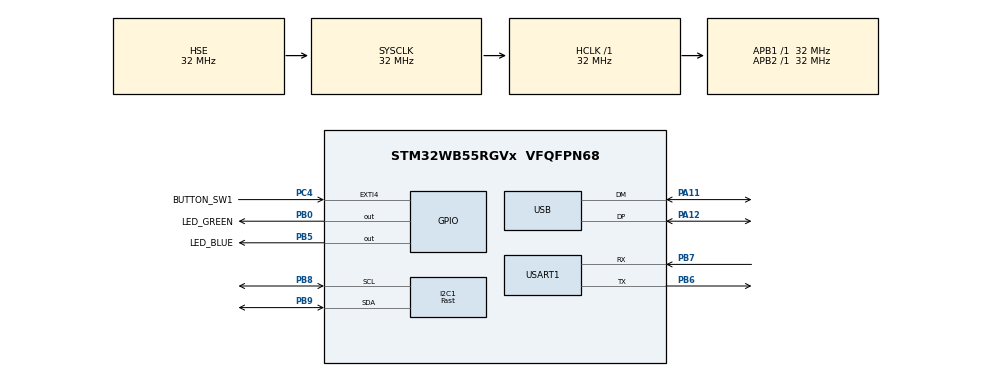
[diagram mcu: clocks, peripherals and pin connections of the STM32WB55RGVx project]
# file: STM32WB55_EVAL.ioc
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Dma.I2C1_RX.0.Direction=DMA_PERIPH_TO_MEMORY
Dma.I2C1_RX.0.EventEnable=DISABLE
Dma.I2C1_RX.0.Instance=DMA1_Channel1
Dma.I2C1_RX.0.MemDataAlignment=DMA_MDATAALIGN_BYTE
Dma.I2C1_RX.0.MemInc=DMA_MINC_ENABLE
Dma.I2C1_RX.0.Mode=DMA_NORMAL
Dma.I2C1_RX.0.PeriphDataAlignment=DMA_PDATAALIGN_BYTE
Dma.I2C1_RX.0.PeriphInc=DMA_PINC_DISABLE
Dma.I2C1_RX.0.Polarity=HAL_DMAMUX_REQ_GEN_RISING
Dma.I2C1_RX.0.Priority=DMA_PRIORITY_LOW
Dma.I2C1_RX.0.RequestNumber=1
Dma.I2C1_RX.0.SignalID=NONE
Dma.I2C1_RX.0.SyncEnable=DISABLE
Dma.I2C1_RX.0.SyncPolarity=HAL_DMAMUX_SYNC_NO_EVENT
Dma.I2C1_RX.0.SyncRequestNumber=1
Dma.I2C1_RX.0.SyncSignalID=NONE
Dma.I2C1_TX.1.Direction=DMA_MEMORY_TO_PERIPH
Dma.I2C1_TX.1.EventEnable=DISABLE
Dma.I2C1_TX.1.Instance=DMA1_Channel2
Dma.I2C1_TX.1.MemDataAlignment=DMA_MDATAALIGN_BYTE
Dma.I2C1_TX.1.MemInc=DMA_MINC_ENABLE
Dma.I2C1_TX.1.Mode=DMA_NORMAL
Dma.I2C1_TX.1.PeriphDataAlignment=DMA_PDATAALIGN_BYTE
Dma.I2C1_TX.1.PeriphInc=DMA_PINC_DISABLE
Dma.I2C1_TX.1.Polarity=HAL_DMAMUX_REQ_GEN_RISING
Dma.I2C1_TX.1.Priority=DMA_PRIORITY_LOW
Dma.I2C1_TX.1.RequestNumber=1
Dma.I2C1_TX.1.SignalID=NONE
Dma.I2C1_TX.1.SyncEnable=DISABLE
Dma.I2C1_TX.1.SyncPolarity=HAL_DMAMUX_SYNC_NO_EVENT
Dma.I2C1_TX.1.SyncRequestNumber=1
Dma.I2C1_TX.1.SyncSignalID=NONE
Dma.Request0=I2C1_RX
Dma.Request1=I2C1_TX
FREERTOS.BinarySemaphores01=ImuI2Csem,Dynamic,NULL
FREERTOS.Tasks01=imuTask,24,256,StartImuTask,Default,NULL,Dynamic,NULL,NULL
FREERTOS.configMINIMAL_STACK_SIZE=256
FREERTOS.configTOTAL_HEAP_SIZE=6000
I2C1.I2C_Speed_Mode=I2C_Fast
I2C1.Speed=100
I2C1.Timing=0x003038FF
Mcu.Family=STM32WB
Mcu.Name=STM32WB55RGVx
Mcu.Package=VFQFPN68
NVIC.DMA1_Channel1_IRQn=true\:5\:0\:false\:false\:true\:true\:false\:true
NVIC.DMA1_Channel2_IRQn=true\:5\:0\:false\:false\:true\:true\:false\:true
NVIC.EXTI4_IRQn=true\:5\:0\:false\:false\:true\:true\:true\:true
NVIC.I2C1_ER_IRQn=true\:5\:0\:false\:false\:true\:true\:true\:true
NVIC.I2C1_EV_IRQn=true\:5\:0\:false\:false\:true\:true\:true\:true
NVIC.PriorityGroup=NVIC_PRIORITYGROUP_4
NVIC.TIM1_TRG_COM_TIM17_IRQn=true\:0\:0\:false\:false\:true\:false\:false\:true
NVIC.TimeBase=TIM1_TRG_COM_TIM17_IRQn
NVIC.TimeBaseIP=TIM17
NVIC.USB_HP_IRQn=true\:5\:0\:false\:false\:true\:true\:true\:true
NVIC.USB_LP_IRQn=true\:5\:0\:false\:false\:true\:true\:true\:true
OSC_IN.Mode=HSE-External-Oscillator
OSC_IN.Signal=RCC_OSC_IN
OSC_OUT.Mode=HSE-External-Oscillator
OSC_OUT.Signal=RCC_OSC_OUT
PA11.Mode=Device
PA11.Signal=USB_DM
PA12.Mode=Device
PA12.Signal=USB_DP
PA13.Mode=Serial_Wire
PA13.Signal=SYS_JTMS-SWDIO
PA14.Mode=Serial_Wire
PA14.Signal=SYS_JTCK-SWCLK
PB0.GPIO_Label=LED_GREEN
PB0.Signal=GPIO_Output
PB5.GPIO_Label=LED_BLUE
PB5.Signal=GPIO_Output
PB6.Mode=Asynchronous
PB6.Signal=USART1_TX
PB7.Mode=Asynchronous
PB7.Signal=USART1_RX
PB8.Mode=I2C
PB8.Signal=I2C1_SCL
PB9.Mode=I2C
PB9.Signal=I2C1_SDA
PC14-OSC32_IN.Mode=LSE-External-Oscillator
PC14-OSC32_IN.Signal=RCC_OSC32_IN
PC15-OSC32_OUT.Mode=LSE-External-Oscillator
PC15-OSC32_OUT.Signal=RCC_OSC32_OUT
PC4.GPIO_Label=BUTTON_SW1
PC4.GPIO_ModeDefaultEXTI=GPIO_MODE_IT_FALLING
PC4.GPIO_PuPd=GPIO_PULLUP
PC4.Signal=GPXTI4
ProjectManager.HeapSize=0x200
ProjectManager.StackSize=0x400
ProjectManager.TargetToolchain=STM32CubeIDE
RCC.ADCFreq_Value=48000000
RCC.AHBFreq_Value=32000000
RCC.APB1Freq_Value=32000000
RCC.APB1TimFreq_Value=32000000
RCC.APB2Freq_Value=32000000
RCC.APB2TimFreq_Value=32000000
RCC.APB3Freq_Value=16000000
RCC.CortexFreq_Value=32000000
RCC.HCLKFreq_Value=32000000
RCC.HSE_VALUE=32000000
RCC.HSI48_VALUE=48000000
RCC.HSI_VALUE=16000000
RCC.PLLSAI1N=24
RCC.RFWKPClockSelection=RCC_RFWKPCLKSOURCE_LSE
RCC.RTCClockSelection=RCC_RTCCLKSOURCE_LSE
RCC.SYSCLKFreq_VALUE=32000000
RCC.SYSCLKSource=RCC_SYSCLKSOURCE_HSE
RCC.USBFreq_Value=48000000
RCC.VCOOutputFreq_Value=32000000
RF1.Mode=RF1_Activate
RF1.Signal=RF_RF1
STM32_WPAN.AD_TYPE_MANUFACTURER_DATA_2=44
STM32_WPAN.AD_TYPE_MANUFACTURER_DATA_NBR=10
STM32_WPAN.AD_TYPE_MANUFACTURER_SPECIFIC_DATA_COMPANY_IDENTIFIER=01,83
STM32_WPAN.BT_SIG_HEART_RATE_SENSOR=Enabled
STM32_WPAN.CFG_GAP_DEVICE_NAME=WBMEMS
STM32_WPAN.INCLUDE_AD_TYPE_MANUFACTURER_SPECIFIC_DATA=1
STM32_WPAN.LOCAL_NAME=P2PBATA
STM32_WPAN.LOCAL_NAME_FORMATTED=,'P','2','P','B','A','T','A'
STM32_WPAN.NUMBER_OF_SERVICES=1
STM32_WPAN.SERVICE1_CHAR1_LENGTH_CHARACTERISTIC=CHAR_VALUE_LEN_VARIABLE
STM32_WPAN.SERVICE1_CHAR1_LONG_NAME=Environmental
STM32_WPAN.SERVICE1_CHAR1_PROP_BROADCAST=\ 
STM32_WPAN.SERVICE1_CHAR1_PROP_NOTIFY=CHAR_PROP_NOTIFY
STM32_WPAN.SERVICE1_CHAR1_PROP_READ=CHAR_PROP_READ
STM32_WPAN.SERVICE1_CHAR1_SHORT_NAME=Env
STM32_WPAN.SERVICE1_CHAR1_UUID=00 00
STM32_WPAN.SERVICE1_CHAR1_UUID_TYPE=0x02
STM32_WPAN.SERVICE1_CHAR1_VALUE_LENGTH=4
STM32_WPAN.SERVICE1_CHAR2_LONG_NAME=Motion
STM32_WPAN.SERVICE1_CHAR2_PROP_BROADCAST=\ 
STM32_WPAN.SERVICE1_CHAR2_PROP_NOTIFY=CHAR_PROP_NOTIFY
STM32_WPAN.SERVICE1_CHAR2_SHORT_NAME=Motion
STM32_WPAN.SERVICE1_CHAR2_VALUE_LENGTH=20
STM32_WPAN.SERVICE1_LONG_NAME=Hardware_Service_STM
STM32_WPAN.SERVICE1_NUMBER_OF_CHARACTERISTICS=2
STM32_WPAN.SERVICE1_SHORT_NAME=HW
STM32_WPAN.SERVICE1_UUID=00 00
STM32_WPAN.SERVICE1_UUID_TYPE=0x02
USART1.VirtualMode-Asynchronous=VM_ASYNC
USB_DEVICE.CLASS_NAME_FS=CDC
USB_DEVICE.VirtualMode=Cdc
USB_DEVICE.VirtualModeFS=Cdc_FS
VP_FREERTOS_VS_CMSIS_V2.Mode=CMSIS_V2
VP_HSEM_VS_HSEM.Mode=HSEM_Activate
VP_RTC_VS_RTC_Activate.Mode=RTC_Enabled
VP_STM32_WPAN_VS_BLE_HOST.Mode=STM32_WPAN_Enabled
VP_SYS_VS_tim17.Mode=TIM17
VP_TINY_LPM_VS_TINY_LPM.Mode=TINY_LPM_Enabled
VP_USB_DEVICE_VS_USB_DEVICE_CDC_FS.Mode=CDC_FS
board=custom

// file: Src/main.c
/* USER CODE BEGIN Header */
/**
  ******************************************************************************
  * @file           : main.c
  * @brief          : Main program body
  ******************************************************************************
  * @attention
  *
  * <h2><center>&copy; Copyright (c) 2020 STMicroelectronics.
  * All rights reserved.</center></h2>
  *
  * This software component is licensed by ST under Ultimate Liberty license
  * SLA0044, the "License"; You may not use this file except in compliance with
  * the License. You may obtain a copy of the License at:
  *                             www.st.com/SLA0044
  *
  ******************************************************************************
  */
/* USER CODE END Header */

#include "main.h"
#include "cmsis_os.h"
#include "dma.h"
#include "i2c.h"
#include "rf.h"
#include "rtc.h"
#include "app_entry.h"
#include "app_common.h"
#include "usart.h"
#include "usb_device.h"
#include "gpio.h"

/* USER CODE BEGIN Includes */
#include <ism330dlc_reg.h>
#include "SEGGER_RTT.h"
#include "diagnostics_utils.h"
/* USER CODE END Includes */

void SystemClock_Config(void);
void MX_FREERTOS_Init(void);

/* USER CODE BEGIN 0 */
typedef union{
  int16_t i16bit[3];
  uint8_t u8bit[6];
} axis3bit16_t;

typedef union{
  int16_t i16bit;
  uint8_t u8bit[2];
} axis1bit16_t;

/* Private macro -------------------------------------------------------------*/

/* Private variables ---------------------------------------------------------*/
static axis3bit16_t data_raw_acceleration;
static axis3bit16_t data_raw_angular_rate;
static axis1bit16_t data_raw_temperature;
static float acceleration_mg[3];
static float angular_rate_mdps[3];
static float temperature_degC;

static void platform_delay(uint32_t ms);

int __io_putchar(int ch)
{
	ITM_SendChar(ch);
}
/* USER CODE END 0 */

int main(void)
{

  /* MCU Configuration--------------------------------------------------------*/

  /* Reset of all peripherals, Initializes the Flash interface and the Systick. */
  HAL_Init();

  /* USER CODE BEGIN Init */
  vTraceEnable( TRC_INIT );
  /* USER CODE END Init */

  /* Configure the system clock */
  SystemClock_Config();

  /* USER CODE BEGIN SysInit */
  //SEGGER_RTT_ConfigUpBuffer(0, NULL, NULL, 0, SEGGER_RTT_MODE_BLOCK_IF_FIFO_FULL);
  //dwt_cycle_counter_init();
  /* USER CODE END SysInit */

  /* Initialize all configured peripherals */
  MX_GPIO_Init();
  MX_DMA_Init();
  MX_RF_Init();
  MX_RTC_Init();
  MX_USART1_UART_Init();
  MX_I2C1_Init();
  MX_USB_Device_Init();
  /* USER CODE BEGIN 2 */
  //UTIL_SEQ_Init();

  /* USER CODE END 2 */

  /* Init scheduler */
  osKernelInitialize();  /* Call init function for freertos objects (in freertos.c) */
  MX_FREERTOS_Init();
  APPE_Init();
  /* Start scheduler */
  osKernelStart();

  /* We should never get here as control is now taken by the scheduler */
  /* Infinite loop */
  /* USER CODE BEGIN WHILE */
  while (1)
  {
    //ism330dlc_reg_t reg;
    //ism330dlc_status_reg_get(&dev_ctx, &reg.status_reg);

    //if (reg.status_reg.xlda)
    //{
    //  /* Read magnetic field data */
    //  memset(data_raw_acceleration.u8bit, 0x00, 3*sizeof(int16_t));
    //  ism330dlc_acceleration_raw_get(&dev_ctx, data_raw_acceleration.u8bit);
    //  acceleration_mg[0] = ism330dlc_from_fs2g_to_mg( data_raw_acceleration.i16bit[0]);
    //  acceleration_mg[1] = ism330dlc_from_fs2g_to_mg( data_raw_acceleration.i16bit[1]);
    //  acceleration_mg[2] = ism330dlc_from_fs2g_to_mg( data_raw_acceleration.i16bit[2]);

    //  //sprintf((char*)tx_buffer, "Acceleration [mg]:%4.2f\t%4.2f\t%4.2f\r\n",
    //   //       acceleration_mg[0], acceleration_mg[1], acceleration_mg[2]);
    //  //tx_com( tx_buffer, strlen( (char const*)tx_buffer ) );
    //}

    //if (reg.status_reg.gda)
    {
      /* Read magnetic field data */
      //memset(data_raw_angular_rate.u8bit, 0x00, 3*sizeof(int16_t));
      //ism330dlc_angular_rate_raw_get(&dev_ctx, data_raw_angular_rate.u8bit);
      //angular_rate_mdps[0] = ism330dlc_from_fs2000dps_to_mdps(data_raw_angular_rate.i16bit[0]);
      //angular_rate_mdps[1] = ism330dlc_from_fs2000dps_to_mdps(data_raw_angular_rate.i16bit[1]);
      //angular_rate_mdps[2] = ism330dlc_from_fs2000dps_to_mdps(data_raw_angular_rate.i16bit[2]);

     // sprintf((char*)tx_buffer, "Angular rate [mdps]:%4.2f\t%4.2f\t%4.2f\r\n",
     //         angular_rate_mdps[0], angular_rate_mdps[1], angular_rate_mdps[2]);
     // tx_com( tx_buffer, strlen( (char const*)tx_buffer ) );
    }

	  //UTIL_SEQ_Run(~0);
    /* USER CODE END WHILE */

  }
}

void SystemClock_Config(void)
{
  RCC_OscInitTypeDef RCC_OscInitStruct = {0};
  RCC_ClkInitTypeDef RCC_ClkInitStruct = {0};
  RCC_PeriphCLKInitTypeDef PeriphClkInitStruct = {0};

  /** Macro to configure the PLL multiplication factor
  */
  __HAL_RCC_PLL_PLLM_CONFIG(RCC_PLLM_DIV1);
  /** Macro to configure the PLL clock source
  */
  __HAL_RCC_PLL_PLLSOURCE_CONFIG(RCC_PLLSOURCE_MSI);
  /** Configure LSE Drive Capability
  */
  HAL_PWR_EnableBkUpAccess();
  __HAL_RCC_LSEDRIVE_CONFIG(RCC_LSEDRIVE_LOW);
  /** Configure the main internal regulator output voltage
  */
  __HAL_PWR_VOLTAGESCALING_CONFIG(PWR_REGULATOR_VOLTAGE_SCALE1);
  /** Initializes the CPU, AHB and APB busses clocks
  */
  RCC_OscInitStruct.OscillatorType = RCC_OSCILLATORTYPE_HSI|RCC_OSCILLATORTYPE_HSE
                              |RCC_OSCILLATORTYPE_LSE|RCC_OSCILLATORTYPE_MSI;
  RCC_OscInitStruct.HSEState = RCC_HSE_ON;
  RCC_OscInitStruct.LSEState = RCC_LSE_ON;
  RCC_OscInitStruct.HSIState = RCC_HSI_ON;
  RCC_OscInitStruct.MSIState = RCC_MSI_ON;
  RCC_OscInitStruct.HSICalibrationValue = RCC_HSICALIBRATION_DEFAULT;
  RCC_OscInitStruct.MSICalibrationValue = RCC_MSICALIBRATION_DEFAULT;
  RCC_OscInitStruct.MSIClockRange = RCC_MSIRANGE_6;
  RCC_OscInitStruct.PLL.PLLState = RCC_PLL_NONE;
  if (HAL_RCC_OscConfig(&RCC_OscInitStruct) != HAL_OK)
  {
    Error_Handler();
  }
  /** Configure the SYSCLKSource, HCLK, PCLK1 and PCLK2 clocks dividers
  */
  RCC_ClkInitStruct.ClockType = RCC_CLOCKTYPE_HCLK4|RCC_CLOCKTYPE_HCLK2
                              |RCC_CLOCKTYPE_HCLK|RCC_CLOCKTYPE_SYSCLK
                              |RCC_CLOCKTYPE_PCLK1|RCC_CLOCKTYPE_PCLK2;
  RCC_ClkInitStruct.SYSCLKSource = RCC_SYSCLKSOURCE_HSE;
  RCC_ClkInitStruct.AHBCLKDivider = RCC_SYSCLK_DIV1;
  RCC_ClkInitStruct.APB1CLKDivider = RCC_HCLK_DIV1;
  RCC_ClkInitStruct.APB2CLKDivider = RCC_HCLK_DIV1;
  RCC_ClkInitStruct.AHBCLK2Divider = RCC_SYSCLK_DIV1;
  RCC_ClkInitStruct.AHBCLK4Divider = RCC_SYSCLK_DIV1;

  if (HAL_RCC_ClockConfig(&RCC_ClkInitStruct, FLASH_LATENCY_1) != HAL_OK)
  {
    Error_Handler();
  }
  /** Initializes the peripherals clocks
  */
  PeriphClkInitStruct.PeriphClockSelection = RCC_PERIPHCLK_SMPS|RCC_PERIPHCLK_RFWAKEUP
                              |RCC_PERIPHCLK_RTC|RCC_PERIPHCLK_USART1
                              |RCC_PERIPHCLK_I2C1|RCC_PERIPHCLK_USB;
  PeriphClkInitStruct.PLLSAI1.PLLN = 24;
  PeriphClkInitStruct.PLLSAI1.PLLP = RCC_PLLP_DIV2;
  PeriphClkInitStruct.PLLSAI1.PLLQ = RCC_PLLQ_DIV2;
  PeriphClkInitStruct.PLLSAI1.PLLR = RCC_PLLR_DIV2;
  PeriphClkInitStruct.PLLSAI1.PLLSAI1ClockOut = RCC_PLLSAI1_USBCLK;
  PeriphClkInitStruct.Usart1ClockSelection = RCC_USART1CLKSOURCE_PCLK2;
  PeriphClkInitStruct.I2c1ClockSelection = RCC_I2C1CLKSOURCE_PCLK1;
  PeriphClkInitStruct.UsbClockSelection = RCC_USBCLKSOURCE_PLLSAI1;
  PeriphClkInitStruct.RTCClockSelection = RCC_RTCCLKSOURCE_LSE;
  PeriphClkInitStruct.RFWakeUpClockSelection = RCC_RFWKPCLKSOURCE_LSE;
  PeriphClkInitStruct.SmpsClockSelection = RCC_SMPSCLKSOURCE_HSE;
  PeriphClkInitStruct.SmpsDivSelection = RCC_SMPSCLKDIV_RANGE0;
  if (HAL_RCCEx_PeriphCLKConfig(&PeriphClkInitStruct) != HAL_OK)
  {
    Error_Handler();
  }
  /** Enable MSI Auto calibration
  */
  HAL_RCCEx_EnableMSIPLLMode();
}

/* USER CODE BEGIN 4 */
/*
 * @brief  Write generic device register (platform dependent)
 *
 * @param  handle    customizable argument. In this examples is used in
 *                   order to select the correct sensor bus handler.
 * @param  reg       register to write
 * @param  bufp      pointer to data to write in register reg
 * @param  len       number of consecutive register to write
 *
 */

/* USER CODE END 4 */

 /**
  * @brief  Period elapsed callback in non blocking mode
  * @note   This function is called  when TIM17 interrupt took place, inside
  * HAL_TIM_IRQHandler(). It makes a direct call to HAL_IncTick() to increment
  * a global variable "uwTick" used as application time base.
  * @param  htim : TIM handle
  * @retval None
  */
void HAL_TIM_PeriodElapsedCallback(TIM_HandleTypeDef *htim)
{
  if (htim->Instance == TIM17) {
    HAL_IncTick();
  }
}

void Error_Handler(void)
{
}

/************************ (C) COPYRIGHT STMicroelectronics *****END OF FILE****/

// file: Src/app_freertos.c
/* USER CODE BEGIN Header */
/**
  ******************************************************************************
  * File Name          : app_freertos.c
  * Description        : Code for freertos applications
  ******************************************************************************
  * @attention
  *
  * <h2><center>&copy; Copyright (c) 2020 STMicroelectronics.
  * All rights reserved.</center></h2>
  *
  * This software component is licensed by ST under Ultimate Liberty license
  * SLA0044, the "License"; You may not use this file except in compliance with
  * the License. You may obtain a copy of the License at:
  *                             www.st.com/SLA0044
  *
  ******************************************************************************
  */
/* USER CODE END Header */

#include "FreeRTOS.h"
#include "task.h"
#include "main.h"
#include "cmsis_os.h"

/* USER CODE BEGIN Includes */
#include "app_common.h"
#include "dbg_trace.h"
#include "ble.h"
#include "custom_stm.h"
#include "i2c.h"
#include <ism330dlc_reg.h>
/* USER CODE END Includes */

/* USER CODE BEGIN PD */
typedef struct
{
  /* Hardware_Service_STM */
  uint8_t               Motion_Notification_Status;
  uint8_t AccGyroMag_Update_Timer_Id;
  uint16_t              ConnectionHandle;
} Custom_App_Context_t;

#define ACC_GYRO_MAG_UPDATE_PERIOD      (uint32_t)(0.05*1000*1000/CFG_TS_TICK_VAL) /*50ms (20Hz)*/
#define ACC_BYTES               (2)
#define GYRO_BYTES              (2)
#define MAG_BYTES               (2)

#define VALUE_LEN_MOTION        (2+3*ACC_BYTES+3*GYRO_BYTES+3*MAG_BYTES)
#define SENSOR_BUS hi2c1
/**
 * START of Section BLE_APP_CONTEXT
 */

PLACE_IN_SECTION("BLE_APP_CONTEXT") static Custom_App_Context_t Custom_App_Context;
/* USER CODE END PD */

/* USER CODE BEGIN PM */
#define BOOT_TIME             15 //ms
#define STORE_LE_16(buf, val)    ( ((buf)[0] =  (uint8_t) (val)    ) , \
                                   ((buf)[1] =  (uint8_t) (val>>8) ) )
/* USER CODE END PM */

/* USER CODE BEGIN Variables */
static uint8_t whoamI, rst;
stmdev_ctx_t dev_ctx;
static volatile uint32_t txrxinproccess = 0;
/* USER CODE END Variables */
/* Definitions for imuTask */
osThreadId_t imuTaskHandle;
const osThreadAttr_t imuTask_attributes = {
  .name = "imuTask",
  .priority = (osPriority_t) osPriorityNormal,
  .stack_size = 256 * 4
};
/* Definitions for ImuI2Csem */
osSemaphoreId_t ImuI2CsemHandle;
const osSemaphoreAttr_t ImuI2Csem_attributes = {
  .name = "ImuI2Csem"
};

/* USER CODE BEGIN FunctionPrototypes */
void Custom_Motion_Send_Notification(void);
static void MOTENV_AccGyroMagUpdate_Timer_Callback(void);
static void platform_delay(uint32_t ms);
/* Functions Definition ------------------------------------------------------*/
void Custom_STM_App_Notification(Custom_STM_App_Notification_evt_t *pNotification)
{

  switch(pNotification->Custom_Evt_Opcode)
  {
  /* Hardware_Service_STM */

    case CUSTOM_STM_MOTION_READ_EVT:

      break;

    case CUSTOM_STM_MOTION_NOTIFY_ENABLED_EVT:
    	 Custom_App_Context.Motion_Notification_Status = 1;
    	 HW_TS_Stop(Custom_App_Context.AccGyroMag_Update_Timer_Id);
		 HW_TS_Start(Custom_App_Context.AccGyroMag_Update_Timer_Id, ACC_GYRO_MAG_UPDATE_PERIOD);
      break;

    case CUSTOM_STM_MOTION_NOTIFY_DISABLED_EVT:
    	 Custom_App_Context.Motion_Notification_Status  = 0;
    	 HW_TS_Stop(Custom_App_Context.AccGyroMag_Update_Timer_Id);
      break;

    default:

      break;
  }

  return;
}
/* USER CODE END FunctionPrototypes */

void StartImuTask(void *argument);

void MX_FREERTOS_Init(void); /* (MISRA C 2004 rule 8.1) */

void MX_FREERTOS_Init(void) {

  /* Create the semaphores(s) */
  /* creation of ImuI2Csem */
  ImuI2CsemHandle = osSemaphoreNew(1, 0, &ImuI2Csem_attributes);

  /* Create the thread(s) */
  /* creation of imuTask */
  imuTaskHandle = osThreadNew(StartImuTask, NULL, &imuTask_attributes);

  /* USER CODE BEGIN RTOS_THREADS */
  /* add threads, ... */
 	Custom_App_Context.Motion_Notification_Status = 0;
  /* USER CODE END RTOS_THREADS */

}

void StartImuTask(void *argument)
{
	/* Create timer to get the AccGyroMag params and update charecteristic */
	HW_TS_Create(CFG_TIM_PROC_ID_ISR,
      &(Custom_App_Context.AccGyroMag_Update_Timer_Id),
      hw_ts_Repeated,
      MOTENV_AccGyroMagUpdate_Timer_Callback);

  dev_ctx.write_reg = platform_write;
  dev_ctx.read_reg = platform_read;
  dev_ctx.handle = &SENSOR_BUS;

  /* Wait sensor boot time */
  platform_delay(BOOT_TIME);

  /* Check device ID */
  whoamI = 0;

  while( whoamI != ISM330DLC_ID )
  {
	  ism330dlc_device_id_get(&dev_ctx, &whoamI);
  }

  /* Restore default configuration */
  ism330dlc_reset_set(&dev_ctx, PROPERTY_ENABLE);
  do {
    ism330dlc_reset_get(&dev_ctx, &rst);
  } while (rst);

  /* Enable Block Data Update */
  ism330dlc_block_data_update_set(&dev_ctx, PROPERTY_ENABLE);

  /* Set Output Data Rate */
  ism330dlc_gy_data_rate_set(&dev_ctx, ISM330DLC_GY_ODR_12Hz5);

  /* Set full scale */
  ism330dlc_gy_full_scale_set(&dev_ctx, ISM330DLC_2000dps);

  /* Gyroscope - filtering chain */
  ism330dlc_gy_band_pass_set(&dev_ctx, ISM330DLC_HP_260mHz_LP1_STRONG);

  /* USER CODE BEGIN StartImuTask */
  /* Infinite loop */
  for(;;)
  {
    osThreadFlagsWait( 1, osFlagsWaitAny, osWaitForever);
	Custom_Motion_Send_Notification();
  }
  /* USER CODE END StartImuTask */
}

/* USER CODE BEGIN Application */
static void MOTENV_AccGyroMagUpdate_Timer_Callback(void)
{
  osThreadFlagsSet( imuTaskHandle, 1 );
}

typedef union{
  int16_t i16bit[3];
  uint8_t u8bit[6];
} axis3bit16_t;

static axis3bit16_t data_raw_angular_rate;
extern stmdev_ctx_t dev_ctx;

void Custom_Motion_Send_Notification(void) // Property Notification
{
  uint8_t value[VALUE_LEN_MOTION];

  memset(data_raw_angular_rate.u8bit, 0x00, 3*sizeof(int16_t));
  ism330dlc_angular_rate_raw_get(&dev_ctx, data_raw_angular_rate.u8bit);

  ///* Timestamp */
  STORE_LE_16(value, (HAL_GetTick()>>3));

  STORE_LE_16(value+8, data_raw_angular_rate.i16bit[0]);
  STORE_LE_16(value+10, data_raw_angular_rate.i16bit[1]);
  STORE_LE_16(value+12, data_raw_angular_rate.i16bit[2]);

  if(Custom_App_Context.Motion_Notification_Status)
  {
    Custom_STM_App_Update_Char(CUSTOM_STM_MOTION, (uint8_t *)value);
  }
  else
  {
    APP_DBG_MSG("-- CUSTOM APPLICATION : CAN'T INFORM CLIENT -  NOTIFICATION DISABLED\n ");
  }
  return;
}

static void platform_delay(uint32_t ms)
{
  HAL_Delay(ms);
}

void i2c_cmd_resp_release(uint32_t flag)
{
  //UTIL_SEQ_SetEvt( 1<< CFG_IDLEEVT_I2C_CMD_EVT_RSP_ID  );
  //txrxinproccess = 0;
	osSemaphoreRelease(ImuI2CsemHandle);
	return;
}

void i2c_cmd_resp_wait(uint32_t timeout)
{
  //UTIL_SEQ_WaitEvt( 1<< CFG_IDLEEVT_I2C_CMD_EVT_RSP_ID );
	//txrxinproccess = 1;
	//while (txrxinproccess);
	osSemaphoreAcquire( ImuI2CsemHandle, osWaitForever );
	return;
}

void HAL_I2C_MemTxCpltCallback(I2C_HandleTypeDef *hi2c)
{
	i2c_cmd_resp_release(0);
}

void HAL_I2C_MemRxCpltCallback(I2C_HandleTypeDef *hi2c)
{
	i2c_cmd_resp_release(0);
}

int32_t platform_write(void *handle, uint8_t reg, uint8_t *bufp,
                              uint16_t len)
{
  if (handle == &hi2c1)
  {
    HAL_I2C_Mem_Write_IT(handle, ISM330DLC_I2C_ADD_H, reg,
                      I2C_MEMADD_SIZE_8BIT, bufp, len);

    i2c_cmd_resp_wait(33000);
  }

  return 0;
}

int32_t platform_read(void *handle, uint8_t reg, uint8_t *bufp,
                             uint16_t len)
{
  if (handle == &hi2c1)
  {
    HAL_I2C_Mem_Read_IT(handle, ISM330DLC_I2C_ADD_H, reg,
                     I2C_MEMADD_SIZE_8BIT, bufp, len);

    i2c_cmd_resp_wait(33000);
  }

  return 0;
}
/* USER CODE END Application */

/************************ (C) COPYRIGHT STMicroelectronics *****END OF FILE****/
